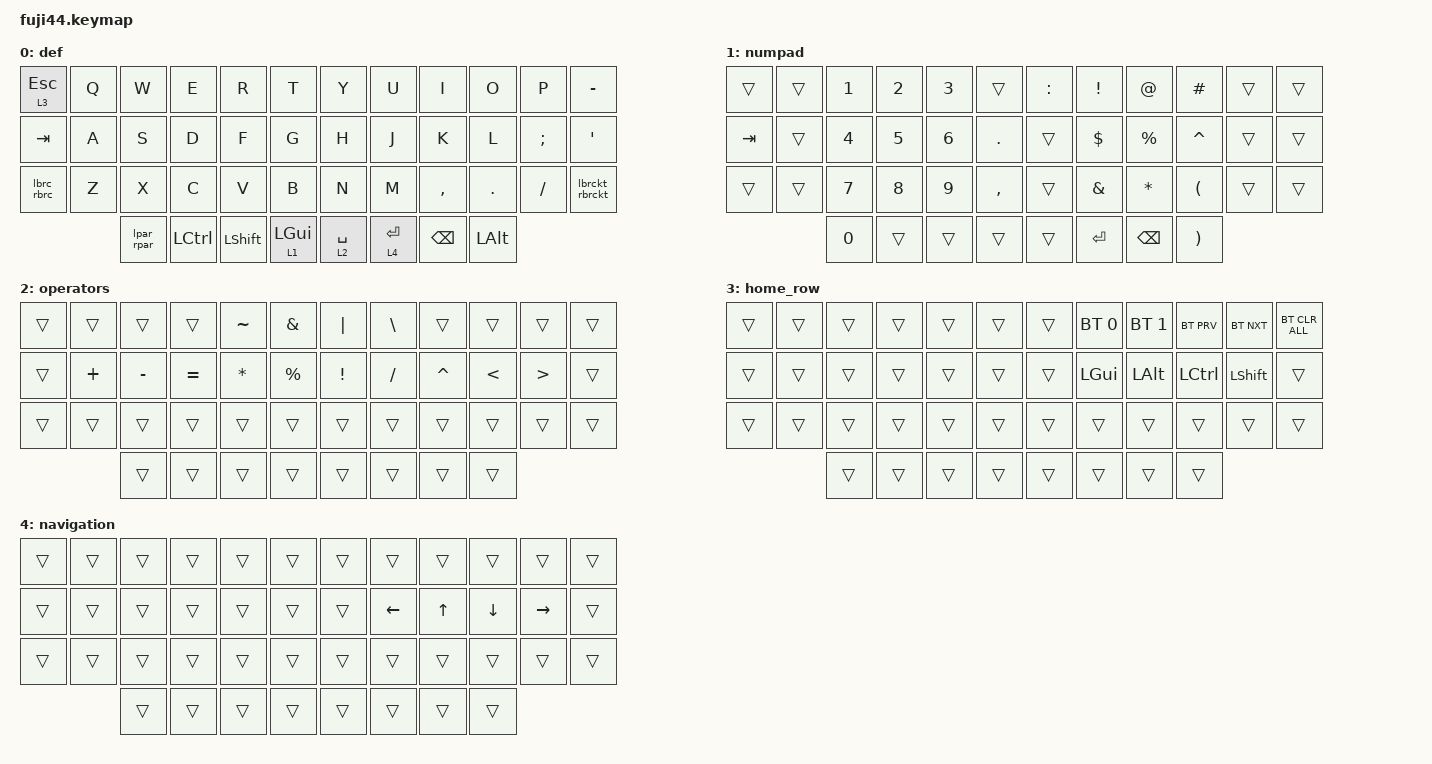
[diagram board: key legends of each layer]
/*
 * Copyright (c) 2020 The ZMK Contributors
 *
 * SPDX-License-Identifier: MIT
 */

#include <behaviors.dtsi>
#include <dt-bindings/zmk/bt.h>
#include <dt-bindings/zmk/keys.h>

/ {
    combos { compatible = "zmk,combos"; };

    behaviors {
        lpar_rpar: lpar_rpar {
            compatible = "zmk,behavior-mod-morph";
            label = "LPAR_RPAR";
            bindings = <&kp LEFT_PARENTHESIS>, <&kp RIGHT_PARENTHESIS>;

            #binding-cells = <0>;
            mods = <(MOD_LSFT)>;
        };

        lbrckt_rbrckt: lbrckt_rbrckt {
            compatible = "zmk,behavior-mod-morph";
            label = "LBRCKT_RBRCKT";
            bindings = <&kp LEFT_BRACKET>, <&kp RIGHT_BRACKET>;

            #binding-cells = <0>;
            mods = <(MOD_LSFT)>;
        };

        lbrc_rbrc: lbrc_rbrc {
            compatible = "zmk,behavior-mod-morph";
            label = "LBRC_RBRC";
            bindings = <&kp LEFT_BRACE>, <&kp RIGHT_BRACE>;

            #binding-cells = <0>;
            mods = <(MOD_LSFT)>;
        };
    };

    keymap {
        compatible = "zmk,keymap";

        def {
            bindings = <
&lt 3 ESCAPE  &kp Q  &kp W       &kp E             &kp R           &kp T             &kp Y        &kp U        &kp I          &kp O     &kp P     &kp MINUS
&kp TAB       &kp A  &kp S       &kp D             &kp F           &kp G             &kp H        &kp J        &kp K          &kp L     &kp SEMI  &kp SQT
&lbrc_rbrc    &kp Z  &kp X       &kp C             &kp V           &kp B             &kp N        &kp M        &kp COMMA      &kp DOT   &kp FSLH  &lbrckt_rbrckt
                     &lpar_rpar  &kp LEFT_CONTROL  &kp LEFT_SHIFT  &lt 1 LEFT_GUI    &lt 2 SPACE  &lt 4 ENTER  &kp BACKSPACE  &kp LALT
            >;
        };

        numpad {
            bindings = <
&trans   &trans  &kp NUMBER_1  &kp NUMBER_2  &kp NUMBER_3  &trans       &kp COLON  &kp EXCLAMATION  &kp AT         &kp HASH               &trans  &trans
&kp TAB  &trans  &kp NUMBER_4  &kp NUMBER_5  &kp NUMBER_6  &kp DOT      &trans     &kp DOLLAR       &kp PERCENT    &kp CARET              &trans  &trans
&trans   &trans  &kp NUMBER_7  &kp NUMBER_8  &kp NUMBER_9  &kp COMMA    &trans     &kp AMPERSAND    &kp STAR       &kp LEFT_PARENTHESIS   &trans  &trans
                 &kp NUMBER_0  &trans        &trans        &trans       &trans     &kp ENTER        &kp BACKSPACE  &kp RIGHT_PARENTHESIS
            >;
        };

        operators {
            bindings = <
&trans  &trans    &trans     &trans     &kp TILDE  &kp AMPERSAND    &kp PIPE         &kp BACKSLASH  &trans     &trans         &trans            &trans
&trans  &kp PLUS  &kp MINUS  &kp EQUAL  &kp STAR   &kp PERCENT      &kp EXCLAMATION  &kp SLASH      &kp CARET  &kp LESS_THAN  &kp GREATER_THAN  &trans
&trans  &trans    &trans     &trans     &trans     &trans           &trans           &trans         &trans     &trans         &trans            &trans
                  &trans     &trans     &trans     &trans           &trans           &trans         &trans     &trans
            >;
        };

        home_row {
            bindings = <
&trans  &trans  &trans  &trans  &trans  &trans    &trans  &bt BT_SEL 0  &bt BT_SEL 1  &bt BT_PRV        &bt BT_NXT      &bt BT_CLR_ALL
&trans  &trans  &trans  &trans  &trans  &trans    &trans  &kp LEFT_GUI  &kp LEFT_ALT  &kp LEFT_CONTROL  &kp LEFT_SHIFT  &trans
&trans  &trans  &trans  &trans  &trans  &trans    &trans  &trans        &trans        &trans            &trans          &trans
                &trans  &trans  &trans  &trans    &trans  &trans        &trans        &trans
            >;
        };

        navigation {
            bindings = <
&trans  &trans  &trans  &trans  &trans  &trans    &trans  &trans          &trans        &trans          &trans           &trans
&trans  &trans  &trans  &trans  &trans  &trans    &trans  &kp LEFT_ARROW  &kp UP_ARROW  &kp DOWN_ARROW  &kp RIGHT_ARROW  &trans
&trans  &trans  &trans  &trans  &trans  &trans    &trans  &trans          &trans        &trans          &trans           &trans
                &trans  &trans  &trans  &trans    &trans  &trans          &trans        &trans
            >;
        };
    };
};
